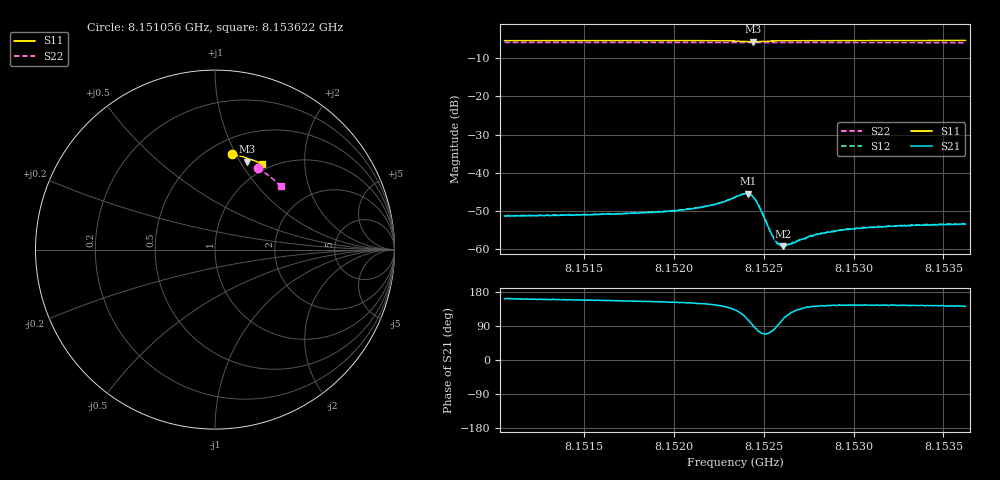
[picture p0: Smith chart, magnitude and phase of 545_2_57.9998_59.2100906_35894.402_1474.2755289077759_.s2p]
#  HZ  S  RI  R  50.00
! Rohde & Schwarz Vector Network Analyzer
! Rohde-Schwarz,ZNB20-2Port,1311601062101988,3.16
! Created: UTC 3/21/2024, 1:14:45 AM
! freq[Hz]  re:S11  im:S11  re:S21  im:S21  re:S12  im:S12  re:S22  im:S22
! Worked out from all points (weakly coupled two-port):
!   401 points, 8.151056 GHz to 8.153622 GHz, reference 50 ohm
!   highest |S21| = -45.52 dB at 8.15241 GHz (marker M1); lowest = -59.3 dB at 8.152609 GHz (marker M2)
!   lowest |S11| = -5.7 dB at 8.152442 GHz (marker M3), VSWR 3.18, Z = 39.9 + j53.6 ohm
!   |S11| at or under -10 dB: nowhere
!   |S22| runs from -5.9 to -5.8 dB; largest |S21 - S12| = 0.00013
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8.1510564e9  0.0946 0.531  -0.00257 0.000866  -0.00255 0.000882  0.2374 0.4526
8.1514862e9  0.1244 0.5254  -0.00261 0.00102  -0.0026 0.00108  0.2612 0.4387
8.151916e9  0.1544 0.518  -0.00273 0.00134  -0.00278 0.00143  0.2841 0.4234
8.1521597e9  0.1725 0.5117  -0.00303 0.00185  -0.00303 0.0019  0.2968 0.4143
8.1522559e9  0.1804 0.5074  -0.00321 0.0024  -0.0032 0.00247  0.3017 0.4105
8.1523393e9  0.1869 0.5004  -0.00317 0.00351  -0.00318 0.00361  0.3059 0.4071
8.1523842e9  0.1876 0.494  -0.00252 0.00458  -0.00249 0.00465  0.308 0.4051
8.1524099e9  0.1853 0.4903  -0.00156 0.00506  -0.00152 0.00512  0.309 0.4041
8.1524291e9  0.1819 0.4888  -0.000612 0.00505  -0.000557 0.00509  0.3098 0.4033
8.152442e9  0.1796 0.4894  6.04e-05 0.00473  8e-05 0.0048  0.3104 0.403
8.1524612e9  0.1769 0.4918  0.000687 0.00403  0.000778 0.00404  0.3112 0.4023
8.1524805e9  0.1761 0.4951  0.000981 0.00317  0.00103 0.00319  0.3121 0.4015
8.1525318e9  0.18 0.5014  0.00056 0.00168  0.000578 0.00168  0.3149 0.3999
8.1525574e9  0.1829 0.503  0.0002 0.00132  0.000254 0.00135  0.3162 0.3988
8.1525831e9  0.1859 0.5036  -8.89e-05 0.00119  -8.28e-05 0.00115  0.3175 0.3979
8.1526088e9  0.1887 0.5039  -0.00035 0.00103  -0.000343 0.00108  0.3188 0.3969
8.1526408e9  0.1918 0.5037  -0.0006 0.000985  -0.000563 0.00103  0.3204 0.3955
8.1527691e9  0.2027 0.5013  -0.00114 0.000923  -0.00112 0.000996  0.3267 0.3903
8.1528461e9  0.2086 0.4995  -0.0013 0.000973  -0.00131 0.000979  0.3305 0.3869
8.1529616e9  0.2167 0.4965  -0.00148 0.00105  -0.00147 0.0011  0.3359 0.3819
8.1531989e9  0.2327 0.49  -0.00162 0.00117  -0.00162 0.00118  0.3468 0.3717
8.1536223e9  0.2596 0.4772  -0.00165 0.00133  -0.00165 0.00132  0.3655 0.3523
